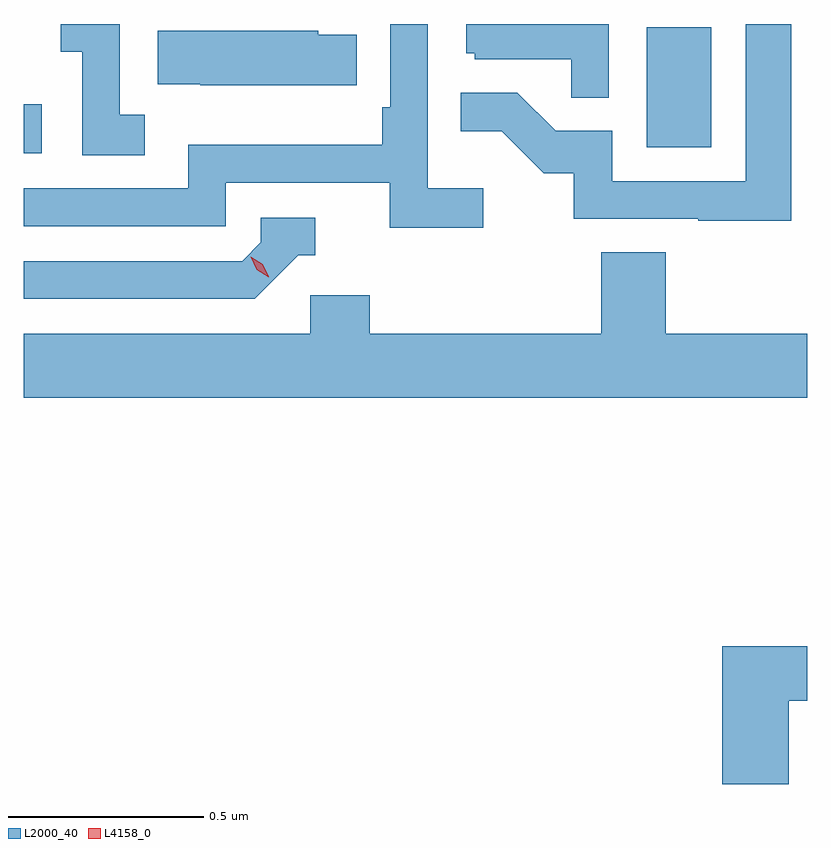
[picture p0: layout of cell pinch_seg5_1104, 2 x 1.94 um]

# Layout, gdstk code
import gdstk
lib = gdstk.Library(unit=1e-6, precision=1e-09)
def R(c, l, rs):  # rectangles x0, y0, x1, y1
    for r in rs: c.add(gdstk.rectangle(r[:2], r[2:], *l))
def P(c, l, *ps):  # polygons
    for p in ps: c.add(gdstk.Polygon(p, *l))
L2000_40 = (2000, 40)
L4158_0 = (4158, 0)

pinch_seg5_1104 = lib.new_cell('pinch_seg5_1104')
R(pinch_seg5_1104, L2000_40, [(850.417,866.709,850.462,866.834), (852.008,866.724,852.172,867.031)])
P(pinch_seg5_1104, L2000_40, [(852.377,867.039),(852.261,867.039),(852.261,866.637),(851.919,866.637),(851.919,866.766),(851.775,866.766),(851.677,866.864),(851.533,866.864),(851.533,866.765),(851.637,866.765),(851.744,866.658),(851.821,866.658),(851.821,866.541),(852.139,866.541),(852.139,866.536),(852.377,866.536)],
  [(851.91,867.039),(851.546,867.039),(851.546,866.964),(851.568,866.964),(851.568,866.949),(851.815,866.949),(851.815,866.851),(851.91,866.851)],
  [(851.59,866.62),(851.448,866.62),(851.448,867.039),(851.352,867.039),(851.352,866.827),(851.332,866.827),(851.332,866.731),(850.836,866.731),(850.836,866.619),(850.417,866.619),(850.417,866.523),(850.932,866.523),(850.932,866.634),(851.351,866.634),(851.351,866.518),(851.59,866.518)],
  [(850.726,866.807),(850.662,866.807),(850.662,867.039),(850.511,867.039),(850.511,866.968),(850.566,866.968),(850.566,866.704),(850.726,866.704)],
  [(851.267,867.012),(851.169,867.012),(851.169,867.022),(850.759,867.022),(850.759,866.885),(850.867,866.885),(850.867,866.882),(851.267,866.882)],
  [(851.118,866.448),(851.161,866.448),(851.161,866.544),(851.022,866.544),(851.022,866.481),(850.974,866.433),(850.417,866.433),(850.417,866.337),(851.007,866.337)],
  [(852.417,866.248),(852.056,866.248),(852.056,866.456),(851.891,866.456),(851.891,866.248),(851.3,866.248),(851.3,866.346),(851.148,866.346),(851.148,866.248),(850.417,866.248),(850.417,866.084),(852.417,866.084)],
  [(852.37,865.31),(852.417,865.31),(852.417,865.45),(852.2,865.45),(852.2,865.098),(852.37,865.098)])
P(pinch_seg5_1104, L4158_0, [(851.042,866.392),(851.012,866.412),(850.996,866.445),(850.996,866.445),(850.996,866.445),(851.027,866.426),(851.042,866.393),(851.042,866.392)])

lib.write_gds('pinch_seg5_1104.gds')
